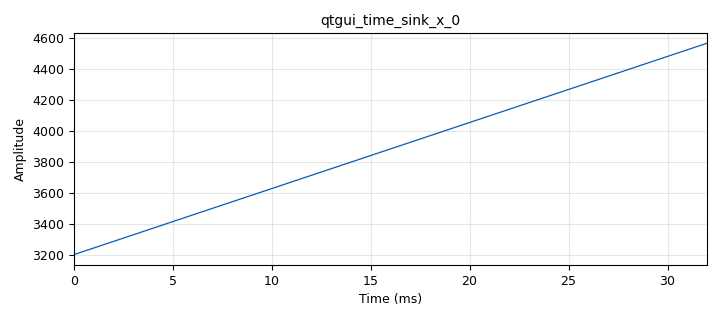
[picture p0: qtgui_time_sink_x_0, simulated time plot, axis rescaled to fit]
options:
  parameters:
    generate_options: qt_gui
    id: Diferenciador
    output_language: python
    title: Not titled yet
  states: {}

blocks:
- name: samp_rate
  id: variable
  parameters:
    value: '32000'
  states: {}
- name: blocks_vector_source_x_0
  id: blocks_vector_source_x
  parameters:
    repeat: 'True'
    type: float
    vector: (2, 1, 1)
  states: {}
- name: epy_block_1
  id: epy_block
  parameters:
    _source_code: |
      """
      Embedded Python Blocks:

      Each time this file is saved, GRC will instantiate the first class it finds
      to get ports and parameters of your block. The arguments to __init__  will
      be the parameters. All of them are required to have default values!
      """
      import numpy as np
      from gnuradio import gr

      class blk(gr.sync_block):

          def __init__(self):  # only default arguments here
              gr.sync_block.__init__(
                  self,
                  name= 'e_Diff',          # will show up in GRC
                  in_sig=[np.float32],
                  out_sig=[np.float32]
              )
              self.acum_anterior = 0
          def work(self, input_items, output_items):
              x = input_items[0]     # Señal de entrada
              y0 = output_items[0]   # Señal acumulada diferencial

              N = len(x)
              diff = np.cumsum(x) - self.acum_anterior
              self.acum_anterior = diff[N-1]

              y0[:] = diff
              return len(y0)
  states: {}
- name: qtgui_time_sink_x_0
  id: qtgui_time_sink_x
  parameters:
    size: '1024'
    srate: samp_rate
    type: float
  states: {}

connections:
- [blocks_vector_source_x_0, '0', epy_block_1, '0']
- [epy_block_1, '0', qtgui_time_sink_x_0, '0']

metadata:
  file_format: 1
  grc_version: v3.10.11.0-89-ga17f69e7
